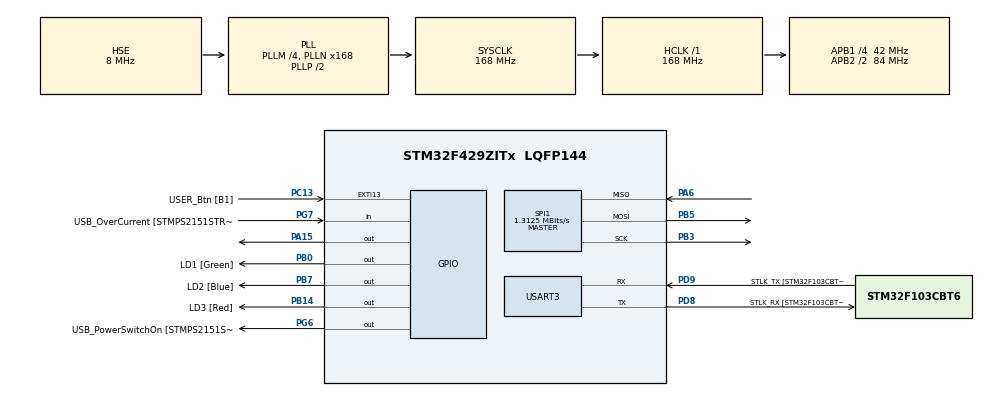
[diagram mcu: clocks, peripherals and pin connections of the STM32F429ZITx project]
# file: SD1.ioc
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FATFS._MAX_SS=4096
FATFS._USE_LFN=1
Mcu.Family=STM32F4
Mcu.Name=STM32F429ZITx
Mcu.Package=LQFP144
NVIC.PriorityGroup=NVIC_PRIORITYGROUP_4
PA13.GPIO_Label=TMS
PA13.Mode=Serial_Wire
PA13.Signal=SYS_JTMS-SWDIO
PA14.GPIO_Label=TCK
PA14.Mode=Serial_Wire
PA14.Signal=SYS_JTCK-SWCLK
PA15.Signal=GPIO_Output
PA6.Mode=Full_Duplex_Master
PA6.Signal=SPI1_MISO
PB0.GPIO_Label=LD1 [Green]
PB0.Signal=GPIO_Output
PB14.GPIO_Label=LD3 [Red]
PB14.Signal=GPIO_Output
PB3.Mode=Full_Duplex_Master
PB3.Signal=SPI1_SCK
PB5.Mode=Full_Duplex_Master
PB5.Signal=SPI1_MOSI
PB7.GPIO_Label=LD2 [Blue]
PB7.Signal=GPIO_Output
PC13.GPIO_Label=USER_Btn [B1]
PC13.Signal=GPXTI13
PC14/OSC32_IN.Mode=LSE-External-Oscillator
PC14/OSC32_IN.Signal=RCC_OSC32_IN
PC15/OSC32_OUT.Mode=LSE-External-Oscillator
PC15/OSC32_OUT.Signal=RCC_OSC32_OUT
PD8.GPIO_Label=STLK_RX [STM32F103CBT6_PA3]
PD8.Mode=Asynchronous
PD8.Signal=USART3_TX
PD9.GPIO_Label=STLK_TX [STM32F103CBT6_PA2]
PD9.Mode=Asynchronous
PD9.Signal=USART3_RX
PG6.GPIO_Label=USB_PowerSwitchOn [STMPS2151STR_EN]
PG6.Signal=GPIO_Output
PG7.GPIO_Label=USB_OverCurrent [STMPS2151STR_FAULT]
PG7.Signal=GPIO_Input
PH0/OSC_IN.GPIO_Label=MCO [STM32F103CBT6_PA8]
PH0/OSC_IN.Mode=HSE-External-Clock-Source
PH0/OSC_IN.Signal=RCC_OSC_IN
PH1/OSC_OUT.Mode=HSE-External-Clock-Source
PH1/OSC_OUT.Signal=RCC_OSC_OUT
ProjectManager.HeapSize=0x200
ProjectManager.StackSize=0x400
ProjectManager.TargetToolchain=STM32CubeIDE
RCC.48MHZClocksFreq_Value=48000000
RCC.AHBFreq_Value=168000000
RCC.APB1CLKDivider=RCC_HCLK_DIV4
RCC.APB1Freq_Value=42000000
RCC.APB1TimFreq_Value=84000000
RCC.APB2CLKDivider=RCC_HCLK_DIV2
RCC.APB2Freq_Value=84000000
RCC.APB2TimCLKDivider=2
RCC.APB2TimFreq_Value=168000000
RCC.CortexFreq_Value=168000000
RCC.HCLKFreq_Value=168000000
RCC.HSE_VALUE=8000000
RCC.HSI_VALUE=16000000
RCC.PLLM=4
RCC.PLLMUL=RCC_PLL_MUL9
RCC.PLLN=168
RCC.PLLQ=7
RCC.PLLSourceVirtual=RCC_PLLSOURCE_HSE
RCC.PRESCALERUSB=RCC_USBCLKSOURCE_PLL_DIV1_5
RCC.SYSCLKFreq_VALUE=168000000
RCC.SYSCLKSource=RCC_SYSCLKSOURCE_PLLCLK
RCC.SYSCLKSourceVirtual=RCC_SYSCLKSOURCE_PLLCLK
RCC.USBFreq_Value=48000000
RCC.VCOOutputFreq_Value=336000000
SPI1.BaudRatePrescaler=SPI_BAUDRATEPRESCALER_64
SPI1.CalculateBaudRate=1.3125 MBits/s
SPI1.Direction=SPI_DIRECTION_2LINES
SPI1.Mode=SPI_MODE_MASTER
SPI1.VirtualType=VM_MASTER
USART3.VirtualMode=VM_ASYNC
VP_FATFS_VS_Generic.Mode=User_defined
board=NUCLEO-F429ZI

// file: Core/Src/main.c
/* USER CODE BEGIN Header */
/**
  ******************************************************************************
  * @file           : main.c
  * @brief          : Main program body
  ******************************************************************************
  * @attention
  *
  * Copyright (c) 2023 STMicroelectronics.
  * All rights reserved.
  *
  * This software is licensed under terms that can be found in the LICENSE file
  * in the root directory of this software component.
  * If no LICENSE file comes with this software, it is provided AS-IS.
  *
  ******************************************************************************
  */
/* USER CODE END Header */
#include "main.h"
#include "fatfs.h"
#include "string.h"

#include "stdio.h" // para usar funcion printf

/* USER CODE BEGIN PD */
FATFS fs;
FIL fil;
FRESULT fresult, Iniresult;

/* USER CODE END PD */

SPI_HandleTypeDef hspi1;

UART_HandleTypeDef huart3;

void SystemClock_Config(void);
static void MX_GPIO_Init(void);
static void MX_USART3_UART_Init(void);
static void MX_SPI1_Init(void);

/* USER CODE BEGIN PFP */
void Send_uart(char *string);
FRESULT MemSD_Init(void);
FRESULT MemSD_list_dir (const char *path);
/* USER CODE END PFP */

int main(void)
{

  /* MCU Configuration--------------------------------------------------------*/

  /* Reset of all peripherals, Initializes the Flash interface and the Systick. */
  HAL_Init();

  /* Configure the system clock */
  SystemClock_Config();

  /* Initialize all configured peripherals */
  MX_GPIO_Init();
  MX_USART3_UART_Init();

  Send_uart("\n\r");
  HAL_Delay(1000);
  Send_uart("Loading...\n\r");
  HAL_Delay(2000);

  MX_SPI1_Init();
  MX_FATFS_Init();
  /* USER CODE BEGIN 2 */

  fresult = MemSD_Init();  // inicializa y visualiza por terminal la configuracion de la memoria SD
  if (fresult != FR_OK)
	  Error_Handler();

  HAL_Delay(1000);

  Send_uart("Dir *.* \n\r");
  //Send_uart("\n\r");

  fresult = MemSD_list_dir("");  // visualiza en la terminal los archivos y carpetas del directorio raiz.
  if (fresult != FR_OK)
	  Error_Handler();

  Send_uart("\n\r");

/*
  fresult = f_open(&fil, "write.txt", FA_OPEN_ALWAYS | FA_WRITE | FA_READ);
//  f_lseek(&fil, fil.  fsize);
  f_puts("archivo creado\n\r", &fil);
  f_close(&fil);
 *
 */

  /* USER CODE END 2 */
//  fresult = list_dir("");

  /* Infinite loop */
  while (1)
  {
	  Send_uart("esta es una prueba. \r");
	  HAL_Delay(1000);
  }
}

void Send_uart(char *string)
{
	uint8_t len = strlen(string);
	HAL_UART_Transmit(&huart3, (uint8_t*) string, len, 2000); // envia string de cualquier longitud y timeout de 2 seg
}

FRESULT MemSD_Init(void)
{
	FRESULT resp=FR_DISK_ERR;
	char cadena[25];
	uint32_t data;

	  resp = f_mount(&fs, "", 1);

	  if (resp == FR_OK)
	  {
		  Send_uart("\n\r***************************************");
		  Send_uart("\n\r    memoria SD reconocida y cargada\n\r");

		  Send_uart(    "          Data bytes : ");
		  itoa((uint32_t)fs.csize,cadena,10);
		  Send_uart(cadena);

		  Send_uart("\n\r         Sector size : ");
		  itoa((uint32_t)fs.ssize,cadena,10);
		  Send_uart(cadena);

		  Send_uart("\n\r        Data Sectors : ");
		  itoa((uint32_t)fs.fsize,cadena,10);
		  Send_uart(cadena);

		  Send_uart("\n\r       Cluster usado : ");
		  itoa((uint32_t)fs.last_clst,cadena,10);
		  Send_uart(cadena);

		  Send_uart("\n\r       Cluster Libre : ");
		  itoa((uint32_t)fs.free_clst,cadena,10);
		  Send_uart(cadena);

		  Send_uart("\n\r       Memoria Total : ");
		  data = (fs.fsize * fs.ssize);
		  data = (data * fs.csize);
		  data = data / 8;
		  itoa((uint32_t)(data),cadena,10);
		  Send_uart(cadena);
		  Send_uart("\n\r***************************************\n\r");
	  }
	  return resp;
}

FRESULT MemSD_list_dir (const char *path)
{
    FRESULT res;
    DIR dir;
    FILINFO fno;
    uint16_t nfile, ndir;
	char cadena[25];
    res = f_opendir(&dir, path);                       /* Open the directory */
    if (res == FR_OK)
    {
        nfile = ndir = 0;
        for (;;)
        {
            res = f_readdir(&dir, &fno);                   /* Read a directory item */
            if (res != FR_OK || fno.fname[0] == 0) break;  /* Error or end of dir */
            if (fno.fattrib & AM_DIR)
            {            /* Directory */
                Send_uart(" <DIR> ");
                Send_uart(fno.fname);
                Send_uart("\n\r");
                ndir++;
            } else
            {                               /* File */
                Send_uart("<FILE> ");
                Send_uart(fno.fname);
                Send_uart("\n\r");
                nfile++;
            }
        }
		itoa((uint32_t)ndir,cadena,10);
        Send_uart(cadena);
        Send_uart("  Directories\n\r");
		itoa((uint32_t)nfile,cadena,10);
        Send_uart(cadena);
        Send_uart("  Files\n\r");
		Send_uart("***************************************\n\r");
    }
    else
    {
        Send_uart("Error de lectura, verifique conexion y reinicio dispositivo");
    }
    return res;
}

void SystemClock_Config(void)
{
  RCC_OscInitTypeDef RCC_OscInitStruct = {0};
  RCC_ClkInitTypeDef RCC_ClkInitStruct = {0};

  /** Configure the main internal regulator output voltage
  */
  __HAL_RCC_PWR_CLK_ENABLE();
  __HAL_PWR_VOLTAGESCALING_CONFIG(PWR_REGULATOR_VOLTAGE_SCALE1);

  /** Initializes the RCC Oscillators according to the specified parameters
  * in the RCC_OscInitTypeDef structure.
  */
  RCC_OscInitStruct.OscillatorType = RCC_OSCILLATORTYPE_HSE;
  RCC_OscInitStruct.HSEState = RCC_HSE_BYPASS;
  RCC_OscInitStruct.PLL.PLLState = RCC_PLL_ON;
  RCC_OscInitStruct.PLL.PLLSource = RCC_PLLSOURCE_HSE;
  RCC_OscInitStruct.PLL.PLLM = 4;
  RCC_OscInitStruct.PLL.PLLN = 168;
  RCC_OscInitStruct.PLL.PLLP = RCC_PLLP_DIV2;
  RCC_OscInitStruct.PLL.PLLQ = 7;
  if (HAL_RCC_OscConfig(&RCC_OscInitStruct) != HAL_OK)
  {
    Error_Handler();
  }

  /** Initializes the CPU, AHB and APB buses clocks
  */
  RCC_ClkInitStruct.ClockType = RCC_CLOCKTYPE_HCLK|RCC_CLOCKTYPE_SYSCLK
                              |RCC_CLOCKTYPE_PCLK1|RCC_CLOCKTYPE_PCLK2;
  RCC_ClkInitStruct.SYSCLKSource = RCC_SYSCLKSOURCE_PLLCLK;
  RCC_ClkInitStruct.AHBCLKDivider = RCC_SYSCLK_DIV1;
  RCC_ClkInitStruct.APB1CLKDivider = RCC_HCLK_DIV4;
  RCC_ClkInitStruct.APB2CLKDivider = RCC_HCLK_DIV2;

  if (HAL_RCC_ClockConfig(&RCC_ClkInitStruct, FLASH_LATENCY_5) != HAL_OK)
  {
    Error_Handler();
  }
}

static void MX_SPI1_Init(void)
{

  /* SPI1 parameter configuration*/
  hspi1.Instance = SPI1;
  hspi1.Init.Mode = SPI_MODE_MASTER;
  hspi1.Init.Direction = SPI_DIRECTION_2LINES;
  hspi1.Init.DataSize = SPI_DATASIZE_8BIT;
  hspi1.Init.CLKPolarity = SPI_POLARITY_LOW;
  hspi1.Init.CLKPhase = SPI_PHASE_1EDGE;
  hspi1.Init.NSS = SPI_NSS_SOFT;
  hspi1.Init.BaudRatePrescaler = SPI_BAUDRATEPRESCALER_64;
  hspi1.Init.FirstBit = SPI_FIRSTBIT_MSB;
  hspi1.Init.TIMode = SPI_TIMODE_DISABLE;
  hspi1.Init.CRCCalculation = SPI_CRCCALCULATION_DISABLE;
  hspi1.Init.CRCPolynomial = 10;
  if (HAL_SPI_Init(&hspi1) != HAL_OK)
  {
    Error_Handler();
  }

}

static void MX_USART3_UART_Init(void)
{

  huart3.Instance = USART3;
  huart3.Init.BaudRate = 115200;
  huart3.Init.WordLength = UART_WORDLENGTH_8B;
  huart3.Init.StopBits = UART_STOPBITS_1;
  huart3.Init.Parity = UART_PARITY_NONE;
  huart3.Init.Mode = UART_MODE_TX_RX;
  huart3.Init.HwFlowCtl = UART_HWCONTROL_NONE;
  huart3.Init.OverSampling = UART_OVERSAMPLING_16;
  if (HAL_UART_Init(&huart3) != HAL_OK)
  {
    Error_Handler();
  }

}

static void MX_GPIO_Init(void)
{
  GPIO_InitTypeDef GPIO_InitStruct = {0};

  /* GPIO Ports Clock Enable */
  __HAL_RCC_GPIOC_CLK_ENABLE();
  __HAL_RCC_GPIOH_CLK_ENABLE();
  __HAL_RCC_GPIOA_CLK_ENABLE();
  __HAL_RCC_GPIOB_CLK_ENABLE();
  __HAL_RCC_GPIOD_CLK_ENABLE();
  __HAL_RCC_GPIOG_CLK_ENABLE();

  /*Configure GPIO pin Output Level */
  HAL_GPIO_WritePin(GPIOB, LD1_Pin|LD3_Pin|LD2_Pin, GPIO_PIN_RESET);

  /*Configure GPIO pin Output Level */
  HAL_GPIO_WritePin(USB_PowerSwitchOn_GPIO_Port, USB_PowerSwitchOn_Pin, GPIO_PIN_RESET);

  /*Configure GPIO pin Output Level */
  HAL_GPIO_WritePin(GPIOA, GPIO_PIN_15, GPIO_PIN_RESET);

  /*Configure GPIO pin : USER_Btn_Pin */
  GPIO_InitStruct.Pin = USER_Btn_Pin;
  GPIO_InitStruct.Mode = GPIO_MODE_IT_RISING;
  GPIO_InitStruct.Pull = GPIO_NOPULL;
  HAL_GPIO_Init(USER_Btn_GPIO_Port, &GPIO_InitStruct);

  /*Configure GPIO pins : LD1_Pin LD3_Pin LD2_Pin */
  GPIO_InitStruct.Pin = LD1_Pin|LD3_Pin|LD2_Pin;
  GPIO_InitStruct.Mode = GPIO_MODE_OUTPUT_PP;
  GPIO_InitStruct.Pull = GPIO_NOPULL;
  GPIO_InitStruct.Speed = GPIO_SPEED_FREQ_LOW;
  HAL_GPIO_Init(GPIOB, &GPIO_InitStruct);

  /*Configure GPIO pin : USB_PowerSwitchOn_Pin */
  GPIO_InitStruct.Pin = USB_PowerSwitchOn_Pin;
  GPIO_InitStruct.Mode = GPIO_MODE_OUTPUT_PP;
  GPIO_InitStruct.Pull = GPIO_NOPULL;
  GPIO_InitStruct.Speed = GPIO_SPEED_FREQ_LOW;
  HAL_GPIO_Init(USB_PowerSwitchOn_GPIO_Port, &GPIO_InitStruct);

  /*Configure GPIO pin : USB_OverCurrent_Pin */
  GPIO_InitStruct.Pin = USB_OverCurrent_Pin;
  GPIO_InitStruct.Mode = GPIO_MODE_INPUT;
  GPIO_InitStruct.Pull = GPIO_NOPULL;
  HAL_GPIO_Init(USB_OverCurrent_GPIO_Port, &GPIO_InitStruct);

  /*Configure GPIO pin : PA15 */
  GPIO_InitStruct.Pin = GPIO_PIN_15;
  GPIO_InitStruct.Mode = GPIO_MODE_OUTPUT_PP;
  GPIO_InitStruct.Pull = GPIO_NOPULL;
  GPIO_InitStruct.Speed = GPIO_SPEED_FREQ_LOW;
  HAL_GPIO_Init(GPIOA, &GPIO_InitStruct);

}

void Error_Handler(void)
{
  __disable_irq();
  while (1)
  {
  }
}
